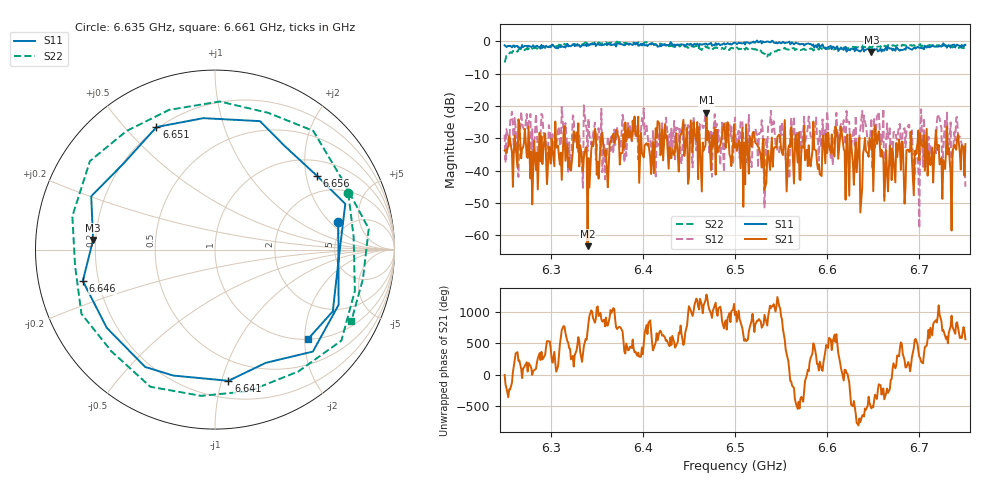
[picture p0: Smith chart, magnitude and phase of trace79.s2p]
# Hz S RI R 50
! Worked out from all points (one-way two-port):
!   401 points, 6.25 GHz to 6.75 GHz, reference 50 ohm
!   highest |S21| = -22.12 dB at 6.469 GHz (marker M1); lowest = -63.3 dB at 6.34 GHz (marker M2)
!   lowest |S11| = -3.3 dB at 6.648 GHz (marker M3), VSWR 5.28, Z = 9.49 + j1.89 ohm
!   |S11| at or under -10 dB: nowhere
!   |S22| runs from -6.6 to -0.1 dB; largest |S21 - S12| = 0.12
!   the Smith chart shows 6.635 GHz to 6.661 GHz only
!   S11 on the Smith chart (normalised r, x): 6.635 GHz: 4.17, +2.49; 6.641 GHz: 0.33, -1.05; 6.646 GHz: 0.14, -0.11; 6.651 GHz: 0.19, +0.61; 6.656 GHz: 1.42, +2.30; 6.661 GHz: 1.02, -2.09
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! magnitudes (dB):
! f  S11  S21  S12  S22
! 6.25 GHz  -1.3  -33.8  -28.9  -6.6
! 6.334 GHz  -1.3  -36.1  -39.1  -1.1
! 6.34 GHz  -0.7  -63.3  -34.0  -0.7
! 6.346 GHz  -1.0  -32.5  -28.7  -0.8
! 6.418 GHz  -1.6  -25.4  -28.1  -0.8
! 6.469 GHz  -0.8  -22.1  -27.7  -2.0
! 6.5 GHz  -0.4  -32.8  -23.6  -2.3
! 6.584 GHz  -1.4  -33.9  -29.6  -2.4
! 6.635 GHz  -3.1  -29.8  -28.8  -1.9
! 6.641 GHz  -2.7  -29.9  -24.8  -1.8
! 6.646 GHz  -2.4  -29.9  -32.8  -1.7
! 6.648 GHz  -3.3  -33.5  -23.8  -2.1
! 6.651 GHz  -2.4  -36.6  -24.0  -1.7
! 6.656 GHz  -3.1  -27.9  -21.8  -1.3
! 6.661 GHz  -2.9  -36.0  -20.8  -1.3
! 6.668 GHz  -2.3  -32.2  -26.9  -1.3
! 6.69 GHz  -2.4  -33.9  -29.6  -1.3
! 6.698 GHz  -1.8  -31.6  -32.2  -1.5
! 6.721 GHz  -1.7  -32.1  -23.4  -1.2
! 6.734 GHz  -2.0  -40.9  -25.1  -1.4
! 6.742 GHz  -1.3  -28.8  -29.2  -2.2
! 6.75 GHz  -1.1  -31.8  -45.0  -2.1
